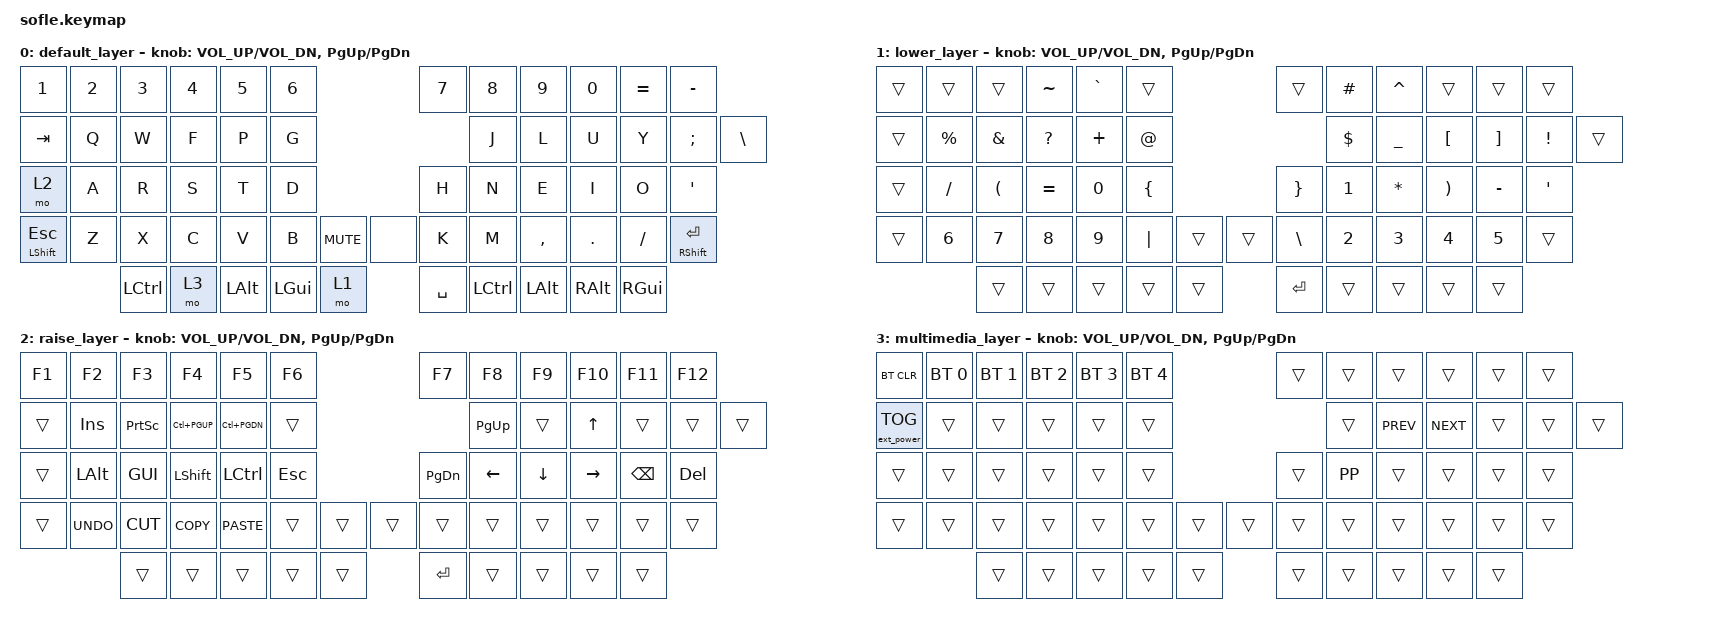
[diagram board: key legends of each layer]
/*
 * Copyright (c) 2020 The ZMK Contributors
 *
 * SPDX-License-Identifier: MIT
 */

#include <behaviors.dtsi>
#include <dt-bindings/zmk/keys.h>
#include <dt-bindings/zmk/bt.h>

/ {
    keymap {
        compatible = "zmk,keymap";

        default_layer {
// ------------------------------------------------------------------------------------------------------------
// |  `    |  1  |  2  |  3   |  4   |  5   |                   |  6   |  7    |  8    |  9   |   0   |       |
// |  ESC  |  Q  |  W  |  E   |  R   |  T   |                   |  Y   |  U    |  I    |  O   |   P   | BKSPC |
// |  TAB  |  A  |  S  |  D   |  F   |  G   |                   |  H   |  J    |  K    |  L   |   ;   |   '   |
// | SHIFT |  Z  |  X  |  C   |  V   |  B   |  MUTE  |  |       |  N   |  M    |  ,    |  .   |   /   | SHIFT |
//               | GUI | ALT  | CTRL | LOWER|  ENTER |  | SPACE | RAISE| CTRL  | ALT   | GUI  |
            bindings = <

&kp N1 &kp N2   &kp N3   &kp N4    &kp N5    &kp N6                      &kp N7 &kp N8    &kp N9   &kp N0    &kp EQUAL    &kp MINUS
&kp TAB   &kp Q  &kp W    &kp F    &kp P     &kp G                       &kp J  &kp L     &kp U     &kp Y    &kp SEMI     &kp BSLH
&mo 2     &kp A  &kp R    &kp S    &kp T     &kp D                         &kp H  &kp N     &kp E     &kp I    &kp O        &kp SQT
&mt LSHFT ESC &kp Z  &kp X    &kp C    &kp V     &kp B  &kp C_MUTE    &none  &kp K  &kp M     &kp COMMA &kp DOT  &kp FSLH     &mt RSHFT RET
                 &kp LCTRL &mo 3 &kp LALT &kp LGUI  &mo 1    &kp SPACE &kp LCTRL  &kp LALT &kp RALT  &kp RGUI

            >;

            sensor-bindings = <&inc_dec_kp C_VOL_UP C_VOL_DN &inc_dec_kp PG_UP PG_DN>;
        };

        lower_layer {
// TODO: Some binds are waiting for shifted keycode support.
// ------------------------------------------------------------------------------------------------------------
// |       |  F1 |  F2 |  F3  |  F4  |  F5  |                   |  F6  |  F7   |  F8   |  F9  |  F10  |  F11  |
// | `     |   1 |   2 |   3  |   4  |   5  |                   |   6  |   7   |   8   |   9  |    0  |  F12  |
// |       |  !  |  @  |  #   |  $   |  %   |                   |  ^   |  &    |  *    |  (   |   )   |   |   |
// |       |  =  |  -  |  +   |  {   |  }   |        |  |       |  [   |  ]    |  ;    |  :   |   \   |       |
//               |     |      |      |      |        |  |       |      |       |       |      |
            bindings = <

&trans    &trans    &trans      &kp TILDE &kp GRAVE  &trans                    &trans   &kp HASH &kp CARET &trans    &trans &trans
&trans    &kp PRCNT &kp AMPS    &kp QMARK &kp PLUS   &kp AT                    &kp DLLR   &kp UNDER &kp LBKT    &kp RBKT  &kp EXCL  &trans
&trans    &kp FSLH  &kp LPAR    &kp EQUAL &kp N0     &kp LBRC                  &kp RBRC &kp N1  &kp STAR &kp RPAR  &kp MINUS &kp SQT
&trans    &kp N6    &kp N7      &kp N8    &kp N9     &kp PIPE  &trans   &trans &kp BSLH &kp N2  &kp N3     &kp N4  &kp N5     &trans
                    &trans    &trans      &trans     &trans    &trans   &kp RET &trans    &trans   &trans          &trans

            >;

            sensor-bindings = <&inc_dec_kp C_VOL_UP C_VOL_DN &inc_dec_kp PG_UP PG_DN>;
        };

        raise_layer {
// ------------------------------------------------------------------------------------------------------------
// |BTCLR| BT1  | BT2  |  BT3  |  BT4  |  BT5 |                |      |      |       |      |       |       |
// |     | INS  | PSCR | GUI   |       |      |                | PGUP |      |   ^   |      |       |       |
// |     | ALT  | CTRL | SHIFT |       | CAPS |                | PGDN |   <- |   v   |  ->  |  DEL  | BKSPC |
// |     | UNDO | CUT  | COPY  | PASTE |      |      |  |      |      |      |       |      |       |       |
//              |      |       |       |      |      |  |      |      |      |       |      |
            bindings = <

&kp F1     &kp F2     &kp F3       &kp F4       &kp F5       &kp F6                   &kp F7    &kp F8    &kp F9   &kp F10    &kp F11  &kp F12
&trans     &kp INS      &kp PSCRN  &kp LC(PGUP)  &kp LC(PGDN)     &trans                     &kp PG_UP &trans    &kp UP   &trans     &trans   &trans
&trans     &kp LALT     &kp GUI    &kp LSHFT    &kp LCTRL    &kp ESC                  &kp PG_DN &kp LEFT  &kp DOWN &kp RIGHT  &kp BSPC &kp DEL
&trans     &kp K_UNDO   &kp K_CUT    &kp K_COPY   &kp K_PASTE  &trans  &trans   &trans  &trans    &trans    &trans   &trans    &trans  &trans
                        &trans       &trans       &trans       &trans  &trans   &kp RET  &trans    &trans    &trans   &trans

            >;

            sensor-bindings = <&inc_dec_kp C_VOL_UP C_VOL_DN &inc_dec_kp PG_UP PG_DN>;
        };

        multimedia_layer {
// ------------------------------------------------------------------------------------------------------------
// |BTCLR| BT1  | BT2  |  BT3  |  BT4  |  BT5 |                |      |      |       |      |       |       |
// |     | INS  | PSCR | GUI   |       |      |                | PGUP |      |   ^   |      |       |       |
// |     | ALT  | CTRL | SHIFT |       | CAPS |                | PGDN |   <- |   v   |  ->  |  DEL  | BKSPC |
// |     | UNDO | CUT  | COPY  | PASTE |      |      |  |      |      |      |       |      |       |       |
//              |      |       |       |      |      |  |      |      |      |       |      |
            bindings = <

&bt BT_CLR &bt BT_SEL 0 &bt BT_SEL 1 &bt BT_SEL 2 &bt BT_SEL 3 &bt BT_SEL 4             &trans    &trans    &trans   &trans    &trans  &trans
&ext_power EP_TOG     &trans       &trans       &trans       &trans       &trans                   &trans    &kp K_PREV    &kp K_NEXT   &trans    &trans  &trans
&trans     &trans       &trans       &trans       &trans       &trans                   &trans    &kp K_PP    &trans   &trans    &trans  &trans
&trans     &trans       &trans       &trans       &trans       &trans  &trans   &trans  &trans    &trans    &trans   &trans    &trans  &trans
                        &trans       &trans       &trans       &trans  &trans   &trans  &trans    &trans    &trans   &trans
            >;

            sensor-bindings = <&inc_dec_kp C_VOL_UP C_VOL_DN &inc_dec_kp PG_UP PG_DN>;
        };

    };
};
